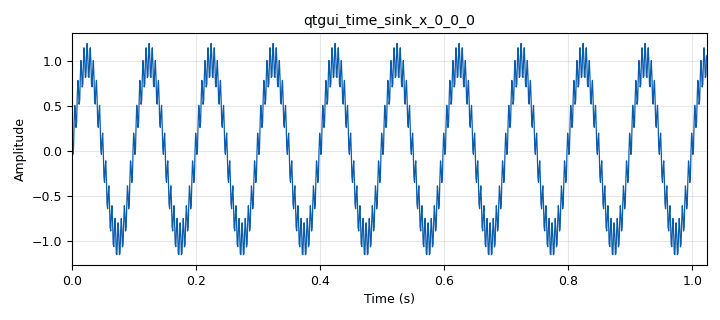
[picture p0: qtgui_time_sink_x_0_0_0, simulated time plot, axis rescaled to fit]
options:
  parameters:
    generate_options: qt_gui
    id: clusterdemo
    output_language: python
    title: SDR-Custom Module Demo
  states: {}

blocks:
- name: samp_rate
  id: variable
  parameters:
    value: '1000'
  states: {}
- name: analog_sig_source_x_0
  id: analog_sig_source_x
  parameters:
    amp: '1'
    freq: '10'
    offset: '0'
    phase: '0'
    samp_rate: samp_rate
    type: float
    waveform: analog.GR_COS_WAVE
  states: {}
- name: analog_sig_source_x_0_0
  id: analog_sig_source_x
  parameters:
    amp: '0.2'
    freq: '200'
    offset: '0'
    phase: '0'
    samp_rate: samp_rate
    type: float
    waveform: analog.GR_COS_WAVE
  states: {}
- name: blocks_add_xx_0
  id: blocks_add_xx
  parameters:
    type: float
  states: {}
- name: blocks_throttle_0_0
  id: blocks_throttle
  parameters:
    samples_per_second: samp_rate
    type: float
  states: {}
- name: customModule_filtro_FIR_3polos_cpp_0
  id: customModule_filtro_FIR_3polos_cpp
  parameters:
    coef0: '0.332673929'
    coef1: '0.3346521419'
    coef2: '0.332673929'
  states: {}
- name: customModule_filtro_FIR_cpp_0_0
  id: customModule_filtro_FIR_cpp
  parameters:
    coef: '[0, 0.011068261498346179672047639996890211478, 0.084952617064387711542927661412250017747, 0.238907891148236350975508912597433663905, 0.330142460578059349085577878213371150196, 0.238907891148236350975508912597433663905, 0.084952617064387711542927661412250017747, 0.011068261498346179672047639996890211478, 0]'
  states: {state: disabled}
- name: qtgui_time_sink_x_0
  id: qtgui_time_sink_x
  parameters:
    nconnections: '2'
    size: '1024'
    srate: samp_rate
    type: float
  states: {state: disabled}
- name: qtgui_time_sink_x_0_0
  id: qtgui_time_sink_x
  parameters:
    size: '1024'
    srate: samp_rate
    type: float
  states: {}
- name: qtgui_time_sink_x_0_0_0
  id: qtgui_time_sink_x
  parameters:
    size: '1024'
    srate: samp_rate
    type: float
  states: {}

connections:
- [analog_sig_source_x_0, '0', blocks_add_xx_0, '0']
- [analog_sig_source_x_0_0, '0', blocks_add_xx_0, '1']
- [blocks_add_xx_0, '0', blocks_throttle_0_0, '0']
- [blocks_throttle_0_0, '0', customModule_filtro_FIR_3polos_cpp_0, '0']
- [blocks_throttle_0_0, '0', customModule_filtro_FIR_cpp_0_0, '0']
- [blocks_throttle_0_0, '0', qtgui_time_sink_x_0, '0']
- [blocks_throttle_0_0, '0', qtgui_time_sink_x_0_0_0, '0']
- [customModule_filtro_FIR_3polos_cpp_0, '0', qtgui_time_sink_x_0, '1']
- [customModule_filtro_FIR_3polos_cpp_0, '0', qtgui_time_sink_x_0_0, '0']
- [customModule_filtro_FIR_cpp_0_0, '0', qtgui_time_sink_x_0_0, '0']

metadata:
  file_format: 1
  grc_version: 3.10.5.1
